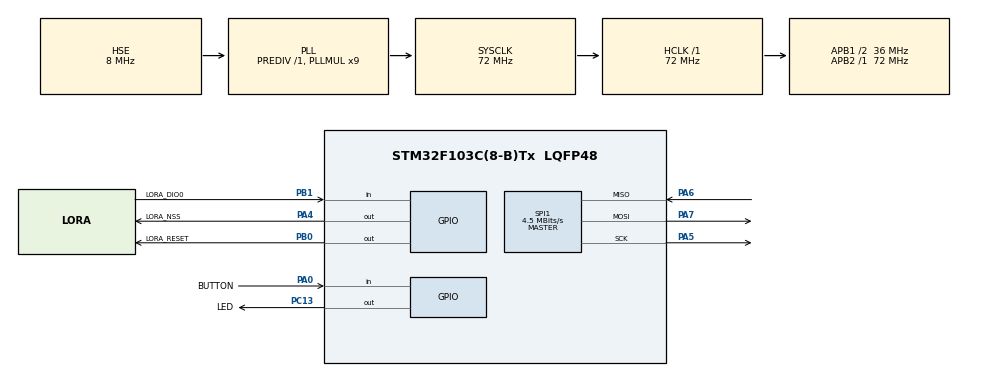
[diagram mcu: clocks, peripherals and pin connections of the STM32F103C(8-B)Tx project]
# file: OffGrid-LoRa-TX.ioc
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Mcu.Family=STM32F1
Mcu.Name=STM32F103C(8-B)Tx
Mcu.Package=LQFP48
NVIC.PriorityGroup=NVIC_PRIORITYGROUP_4
PA0-WKUP.GPIO_Label=BUTTON
PA0-WKUP.Signal=GPIO_Input
PA13.Mode=Serial_Wire
PA13.Signal=SYS_JTMS-SWDIO
PA14.Mode=Serial_Wire
PA14.Signal=SYS_JTCK-SWCLK
PA4.GPIO_Label=LORA_NSS
PA4.Signal=GPIO_Output
PA5.Mode=Full_Duplex_Master
PA5.Signal=SPI1_SCK
PA6.Mode=Full_Duplex_Master
PA6.Signal=SPI1_MISO
PA7.Mode=Full_Duplex_Master
PA7.Signal=SPI1_MOSI
PB0.GPIO_Label=LORA_RESET
PB0.Signal=GPIO_Output
PB1.GPIO_Label=LORA_DIO0
PB1.Signal=GPIO_Input
PC13-TAMPER-RTC.GPIO_Label=LED
PC13-TAMPER-RTC.Signal=GPIO_Output
PD0-OSC_IN.Mode=HSE-External-Oscillator
PD0-OSC_IN.Signal=RCC_OSC_IN
PD1-OSC_OUT.Mode=HSE-External-Oscillator
PD1-OSC_OUT.Signal=RCC_OSC_OUT
ProjectManager.HeapSize=0x200
ProjectManager.StackSize=0x400
ProjectManager.TargetToolchain=STM32CubeIDE
RCC.AHBFreq_Value=72000000
RCC.APB1CLKDivider=RCC_HCLK_DIV2
RCC.APB1Freq_Value=36000000
RCC.APB1TimFreq_Value=72000000
RCC.APB2Freq_Value=72000000
RCC.APB2TimFreq_Value=72000000
RCC.HCLKFreq_Value=72000000
RCC.PLLMUL=RCC_PLL_MUL9
RCC.PLLSourceVirtual=RCC_PLLSOURCE_HSE
RCC.SYSCLKFreq_VALUE=72000000
RCC.SYSCLKSource=RCC_SYSCLKSOURCE_PLLCLK
RCC.USBFreq_Value=72000000
SPI1.BaudRatePrescaler=SPI_BAUDRATEPRESCALER_16
SPI1.CalculateBaudRate=4.5 MBits/s
SPI1.Direction=SPI_DIRECTION_2LINES
SPI1.Mode=SPI_MODE_MASTER
SPI1.VirtualType=VM_MASTER
board=custom

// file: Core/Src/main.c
/* USER CODE BEGIN Header */
/**
  ******************************************************************************
  * @file           : main.c
  * @brief          : Main program body
  ******************************************************************************
  * @attention
  *
  * Copyright (c) 2026 STMicroelectronics.
  * All rights reserved.
  *
  * This software is licensed under terms that can be found in the LICENSE file
  * in the root directory of this software component.
  * If no LICENSE file comes with this software, it is provided AS-IS.
  *
  ******************************************************************************
  */
/* USER CODE END Header */
#include "main.h"

/* USER CODE BEGIN Includes */
#include "lora.h"
#include <stdio.h>

/* USER CODE END Includes */

/* USER CODE BEGIN PD */
/* Message types */
#define MSG_HELP   "HELP"
#define MSG_SAFE   "SAFE"

/* Button debounce delay (ms) */
#define DEBOUNCE_MS  20

/* USER CODE END PD */

SPI_HandleTypeDef hspi1;

/* USER CODE BEGIN PV */
static uint8_t  txBuffer[64];
static uint8_t  txLen;
static uint32_t packetCount = 0;

/* USER CODE END PV */

void SystemClock_Config(void);
static void MX_GPIO_Init(void);
static void MX_SPI1_Init(void);

int main(void)
{

  /* MCU Configuration--------------------------------------------------------*/

  /* Reset of all peripherals, Initializes the Flash interface and the Systick. */
  HAL_Init();

  /* Configure the system clock */
  SystemClock_Config();

  /* Initialize all configured peripherals */
  MX_GPIO_Init();
  MX_SPI1_Init();
  /* USER CODE BEGIN 2 */
  /* LoRa Init */
  if (LoRa_Init() != LORA_OK)
  {
    /* Fast blink = LoRa chip not detected */
    while (1) { HAL_GPIO_TogglePin(GPIOC, GPIO_PIN_13); HAL_Delay(100); }
  }

  /* Ready indication — slow blink PC13 twice */
  for (int i = 0; i < 2; i++)
  {
    HAL_GPIO_WritePin(GPIOC, GPIO_PIN_13, GPIO_PIN_RESET);
    HAL_Delay(300);
    HAL_GPIO_WritePin(GPIOC, GPIO_PIN_13, GPIO_PIN_SET);
    HAL_Delay(300);
  }
  if (LoRa_Init() != LORA_OK)
  {
    while (1) { HAL_GPIO_TogglePin(GPIOC, GPIO_PIN_13); HAL_Delay(100); }
  }
  HAL_GPIO_WritePin(GPIOC, GPIO_PIN_13, GPIO_PIN_RESET);
  HAL_Delay(500);
  HAL_GPIO_WritePin(GPIOC, GPIO_PIN_13, GPIO_PIN_SET);

  /* USER CODE END 2 */

  /* Infinite loop */
  /* USER CODE BEGIN WHILE */
    /* ── HELP button (PA0, active LOW with INPUT_PULLUP) ── */
    if (HAL_GPIO_ReadPin(GPIOA, GPIO_PIN_0) == GPIO_PIN_RESET)
    {
      HAL_Delay(DEBOUNCE_MS);
      if (HAL_GPIO_ReadPin(GPIOA, GPIO_PIN_0) == GPIO_PIN_RESET)
      {
        helpCount++;
        /* Format: "HELP:001" or "HELP:001,GPS:18.5204,73.8567" */
        txLen = (uint8_t)snprintf((char *)txBuffer, sizeof(txBuffer),
                                  "HELP:%03lu", helpCount);

        /* HELP LED ON, transmit, HELP LED OFF */
        HAL_GPIO_WritePin(GPIOA, GPIO_PIN_8, GPIO_PIN_SET);
        HAL_GPIO_WritePin(GPIOC, GPIO_PIN_13, GPIO_PIN_RESET);
        LoRa_Transmit(txBuffer, txLen);
        HAL_GPIO_WritePin(GPIOC, GPIO_PIN_13, GPIO_PIN_SET);
        HAL_Delay(500);
        HAL_GPIO_WritePin(GPIOA, GPIO_PIN_8, GPIO_PIN_RESET);

        /* Wait for button release */
        while (HAL_GPIO_ReadPin(GPIOA, GPIO_PIN_0) == GPIO_PIN_RESET)
          HAL_Delay(10);
      }
    }

    /* ── SAFE button (PB1, active LOW with INPUT_PULLUP) ── */
    if (HAL_GPIO_ReadPin(GPIOB, GPIO_PIN_1) == GPIO_PIN_RESET)
    {
      HAL_Delay(DEBOUNCE_MS);
      if (HAL_GPIO_ReadPin(GPIOB, GPIO_PIN_1) == GPIO_PIN_RESET)
      {
        safeCount++;
        txLen = (uint8_t)snprintf((char *)txBuffer, sizeof(txBuffer),
                                  "SAFE:%03lu", safeCount);

        /* SAFE LED ON, transmit, SAFE LED OFF */
        HAL_GPIO_WritePin(GPIOA, GPIO_PIN_9, GPIO_PIN_SET);
        HAL_GPIO_WritePin(GPIOC, GPIO_PIN_13, GPIO_PIN_RESET);
        LoRa_Transmit(txBuffer, txLen);
        HAL_GPIO_WritePin(GPIOC, GPIO_PIN_13, GPIO_PIN_SET);
        HAL_Delay(500);
        HAL_GPIO_WritePin(GPIOA, GPIO_PIN_9, GPIO_PIN_RESET);

        /* Wait for button release */
        while (HAL_GPIO_ReadPin(GPIOB, GPIO_PIN_1) == GPIO_PIN_RESET)
          HAL_Delay(10);
      }
    }

    HAL_Delay(10);
    if (HAL_GPIO_ReadPin(GPIOA, GPIO_PIN_0) == GPIO_PIN_RESET)
    {
      HAL_Delay(20);
      if (HAL_GPIO_ReadPin(GPIOA, GPIO_PIN_0) == GPIO_PIN_RESET)
      {
        packetCount++;
        txLen = (uint8_t)snprintf((char *)txBuffer, sizeof(txBuffer),
                                  "ALERT:%03lu", packetCount);
        HAL_GPIO_WritePin(GPIOC, GPIO_PIN_13, GPIO_PIN_RESET);
        LoRa_Transmit(txBuffer, txLen);
        HAL_GPIO_WritePin(GPIOC, GPIO_PIN_13, GPIO_PIN_SET);
        while (HAL_GPIO_ReadPin(GPIOA, GPIO_PIN_0) == GPIO_PIN_RESET)
          HAL_Delay(10);
      }
    }
    HAL_Delay(10);
  while (1)
  {
    /* USER CODE END WHILE */

  }
}

void SystemClock_Config(void)
{
  RCC_OscInitTypeDef RCC_OscInitStruct = {0};
  RCC_ClkInitTypeDef RCC_ClkInitStruct = {0};

  /** Initializes the RCC Oscillators according to the specified parameters
  * in the RCC_OscInitTypeDef structure.
  */
  RCC_OscInitStruct.OscillatorType = RCC_OSCILLATORTYPE_HSE;
  RCC_OscInitStruct.HSEState = RCC_HSE_ON;
  RCC_OscInitStruct.HSEPredivValue = RCC_HSE_PREDIV_DIV1;
  RCC_OscInitStruct.HSIState = RCC_HSI_ON;
  RCC_OscInitStruct.PLL.PLLState = RCC_PLL_ON;
  RCC_OscInitStruct.PLL.PLLSource = RCC_PLLSOURCE_HSE;
  RCC_OscInitStruct.PLL.PLLMUL = RCC_PLL_MUL9;
  if (HAL_RCC_OscConfig(&RCC_OscInitStruct) != HAL_OK)
  {
    Error_Handler();
  }

  /** Initializes the CPU, AHB and APB buses clocks
  */
  RCC_ClkInitStruct.ClockType = RCC_CLOCKTYPE_HCLK|RCC_CLOCKTYPE_SYSCLK
                              |RCC_CLOCKTYPE_PCLK1|RCC_CLOCKTYPE_PCLK2;
  RCC_ClkInitStruct.SYSCLKSource = RCC_SYSCLKSOURCE_PLLCLK;
  RCC_ClkInitStruct.AHBCLKDivider = RCC_SYSCLK_DIV1;
  RCC_ClkInitStruct.APB1CLKDivider = RCC_HCLK_DIV2;
  RCC_ClkInitStruct.APB2CLKDivider = RCC_HCLK_DIV1;

  if (HAL_RCC_ClockConfig(&RCC_ClkInitStruct, FLASH_LATENCY_2) != HAL_OK)
  {
    Error_Handler();
  }
}

static void MX_SPI1_Init(void)
{

  /* SPI1 parameter configuration*/
  hspi1.Instance = SPI1;
  hspi1.Init.Mode = SPI_MODE_MASTER;
  hspi1.Init.Direction = SPI_DIRECTION_2LINES;
  hspi1.Init.DataSize = SPI_DATASIZE_8BIT;
  hspi1.Init.CLKPolarity = SPI_POLARITY_LOW;
  hspi1.Init.CLKPhase = SPI_PHASE_1EDGE;
  hspi1.Init.NSS = SPI_NSS_SOFT;
  hspi1.Init.BaudRatePrescaler = SPI_BAUDRATEPRESCALER_16;
  hspi1.Init.FirstBit = SPI_FIRSTBIT_MSB;
  hspi1.Init.TIMode = SPI_TIMODE_DISABLE;
  hspi1.Init.CRCCalculation = SPI_CRCCALCULATION_DISABLE;
  hspi1.Init.CRCPolynomial = 10;
  if (HAL_SPI_Init(&hspi1) != HAL_OK)
  {
    Error_Handler();
  }

}

static void MX_GPIO_Init(void)
{
  GPIO_InitTypeDef GPIO_InitStruct = {0};

  /* GPIO Ports Clock Enable */
  __HAL_RCC_GPIOC_CLK_ENABLE();
  __HAL_RCC_GPIOD_CLK_ENABLE();
  __HAL_RCC_GPIOA_CLK_ENABLE();
  __HAL_RCC_GPIOB_CLK_ENABLE();

  /*Configure GPIO pin Output Level */
  HAL_GPIO_WritePin(LED_GPIO_Port, LED_Pin, GPIO_PIN_RESET);

  /*Configure GPIO pin Output Level */
  HAL_GPIO_WritePin(LORA_NSS_GPIO_Port, LORA_NSS_Pin, GPIO_PIN_RESET);

  /*Configure GPIO pin Output Level */
  HAL_GPIO_WritePin(LORA_RESET_GPIO_Port, LORA_RESET_Pin, GPIO_PIN_RESET);

  /*Configure GPIO pin : LED_Pin */
  GPIO_InitStruct.Pin = LED_Pin;
  GPIO_InitStruct.Mode = GPIO_MODE_OUTPUT_PP;
  GPIO_InitStruct.Pull = GPIO_NOPULL;
  GPIO_InitStruct.Speed = GPIO_SPEED_FREQ_LOW;
  HAL_GPIO_Init(LED_GPIO_Port, &GPIO_InitStruct);

  /*Configure GPIO pin : BUTTON_Pin */
  GPIO_InitStruct.Pin = BUTTON_Pin;
  GPIO_InitStruct.Mode = GPIO_MODE_INPUT;
  GPIO_InitStruct.Pull = GPIO_NOPULL;
  HAL_GPIO_Init(BUTTON_GPIO_Port, &GPIO_InitStruct);

  /*Configure GPIO pin : LORA_NSS_Pin */
  GPIO_InitStruct.Pin = LORA_NSS_Pin;
  GPIO_InitStruct.Mode = GPIO_MODE_OUTPUT_PP;
  GPIO_InitStruct.Pull = GPIO_NOPULL;
  GPIO_InitStruct.Speed = GPIO_SPEED_FREQ_LOW;
  HAL_GPIO_Init(LORA_NSS_GPIO_Port, &GPIO_InitStruct);

  /*Configure GPIO pin : LORA_RESET_Pin */
  GPIO_InitStruct.Pin = LORA_RESET_Pin;
  GPIO_InitStruct.Mode = GPIO_MODE_OUTPUT_PP;
  GPIO_InitStruct.Pull = GPIO_NOPULL;
  GPIO_InitStruct.Speed = GPIO_SPEED_FREQ_LOW;
  HAL_GPIO_Init(LORA_RESET_GPIO_Port, &GPIO_InitStruct);

  /*Configure GPIO pin : LORA_DIO0_Pin */
  GPIO_InitStruct.Pin = LORA_DIO0_Pin;
  GPIO_InitStruct.Mode = GPIO_MODE_INPUT;
  GPIO_InitStruct.Pull = GPIO_NOPULL;
  HAL_GPIO_Init(LORA_DIO0_GPIO_Port, &GPIO_InitStruct);

}

void Error_Handler(void)
{
  __disable_irq();
  while (1)
  {
  }
}
